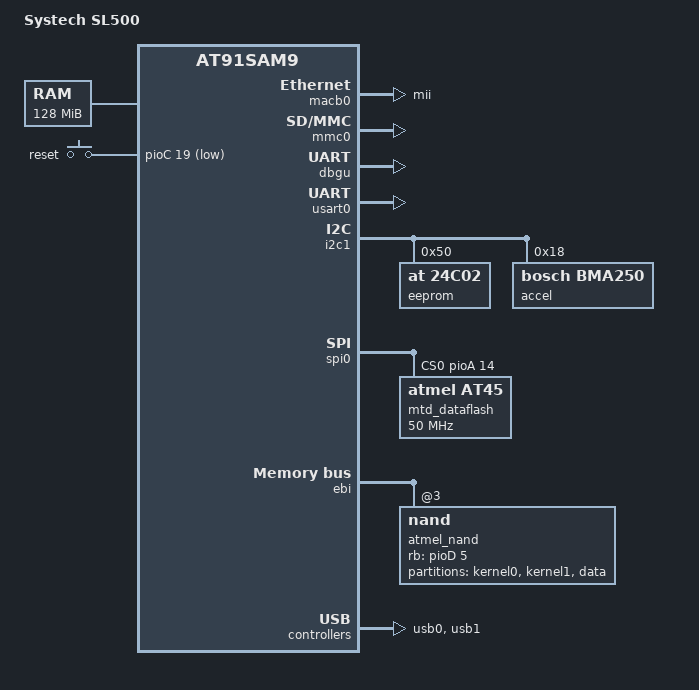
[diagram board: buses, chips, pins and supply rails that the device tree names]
/*
 * sl500.dts - Device Tree file for Systech SL500 board
 *
 *  Copyright (C) 2014 Nathan Ford <nford@westpond.com>
 *                2012 Atmel,
 *                2012 Nicolas Ferre <nicolas.ferre@atmel.com>
 *
 * Licensed under GPLv2 or later.
 */
/dts-v1/;
#include "at91sam9g25.dtsi"

/ {
	model = "Systech SL500";
	compatible = "systech,sl500", "atmel,at91sam9x5", "atmel,at91sam9";

	chosen {
		bootargs = "console=ttyS0,115200";
	};

	memory {
		reg = <0x20000000 0x8000000>;
	};

	clocks {
		#address-cells = <1>;
		#size-cells = <1>;
		ranges;

		main_clock: clock@0 {
			compatible = "atmel,osc", "fixed-clock";
			clock-frequency = <12000000>;
		};
	};

	ahb {
		apb {
			macb0: ethernet@f802c000 {
				phy-mode = "mii";
				pinctrl-0 = <
					&pinctrl_macb0_rmii
					&pinctrl_macb0_rmii_mii>;
				status = "okay";
			};

			mmc0: mmc@f0008000 {
				pinctrl-0 = <
					&pinctrl_board_mmc0
					&pinctrl_mmc0_slot0_clk_cmd_dat0
					&pinctrl_mmc0_slot0_dat1_3>;
				status = "okay";
				slot@0 {
					reg = <0>;
					bus-width = <4>;
					cd-gpios = <&pioD 15 0>;
				};
			};

			dbgu: serial@fffff200 {
				status = "okay";
			};

			usart0: serial@f801c000 {
				status = "okay";
			};

			pinctrl@fffff400 {
				mmc0 {
					pinctrl_board_mmc0: mmc0-board {
						atmel,pins =
							<3 15 0x0 0x5>;	/* PD15 gpio CD pin pull up and deglitch */
					};
				};
			};

			i2c1: i2c@f8014000 {
				status = "okay";

		        eeprom@50 {
					compatible = "at,24c02";
		            pagesize = <16>;
					reg = <0x50>;
		        };

				accel@18 {
					compatible = "bosch,bma250";
					reg = <0x18>;
				};
			};

			spi0: spi@f0000000 {
				status = "okay";
				cs-gpios = <&pioA 14 0>, <0>, <0>, <0>;

				mtd_dataflash@0 {
					#address-cells = <1>;
					#size-cells = <1>;
					compatible = "atmel,at45", "atmel,dataflash";
					spi-max-frequency = <50000000>;
					reg = <0>;

					bootstrap@0 {
						label = "bootstrap";
						reg = < 0x0 0x4200 >;
					};
					env@4200 {
						label = "env";
						reg = < 0x4200 0x4200 >;
					};
					u-boot@8400 {
						label = "u-boot";
						reg = < 0x8400 0x80010 >;
					};
				};
			};

			watchdog@fffffe40 {
				status = "okay";
			};
		};

		ebi: ebi@10000000 {
			pinctrl-0 = <&pinctrl_ebi_addr_nand &pinctrl_ebi_data_0_7>;
			pinctrl-names = "default";
			status = "okay";

			nand_controller: nand-controller {
				pinctrl-0 = <&pinctrl_nand_oe_we &pinctrl_nand_cs &pinctrl_nand_rb>;
				pinctrl-names = "default";
				status = "okay";

				nand: nand@3 {
					reg = <0x3 0x0 0x800000>;
					rb-gpios = <&pioD 5 GPIO_ACTIVE_HIGH>;
					cs-gpios = <&pioD 4 GPIO_ACTIVE_HIGH>;
					atmel,nand-has-dma;
					nand-bus-width = <8>;
					nand-ecc-mode = "hw";
					atmel,has-pmecc;    /* Enable PMECC */
					atmel,pmecc-cap = <2>;
					atmel,pmecc-sector-size = <512>;
					nand-on-flash-bbt;
					label = "atmel_nand";

					partitions {
						compatible = "fixed-partitions";
						#address-cells = <1>;
						#size-cells = <1>;

						kernel0@0 {
							label = "kernel0";
							reg = <0x0 0x1000000>;
						};
						kernel1@1000000 {
							label = "kernel1";
							reg = <0x1000000 0x1000000>;
						};
						data@2000000 {
							label = "data";
							reg = <0x2000000 0xE000000>;
						};
					};
				};
			};
		};

		usb0: ohci@00600000 {
			status = "okay";
			num-ports = <2>;
			atmel,vbus-gpio = <&pioD 19 1
					   &pioD 20 1
					  >;
		};

		usb1: ehci@00700000 {
			status = "okay";
		};
	};

	sl500-leds {
        compatible = "systech,sl500-leds";
	};

	gpio_keys {
		compatible = "gpio-keys";

		F12 {
			label = "reset";
			gpios = <&pioC 19 1>;
			linux,code = <88>;
		};
	};
};
